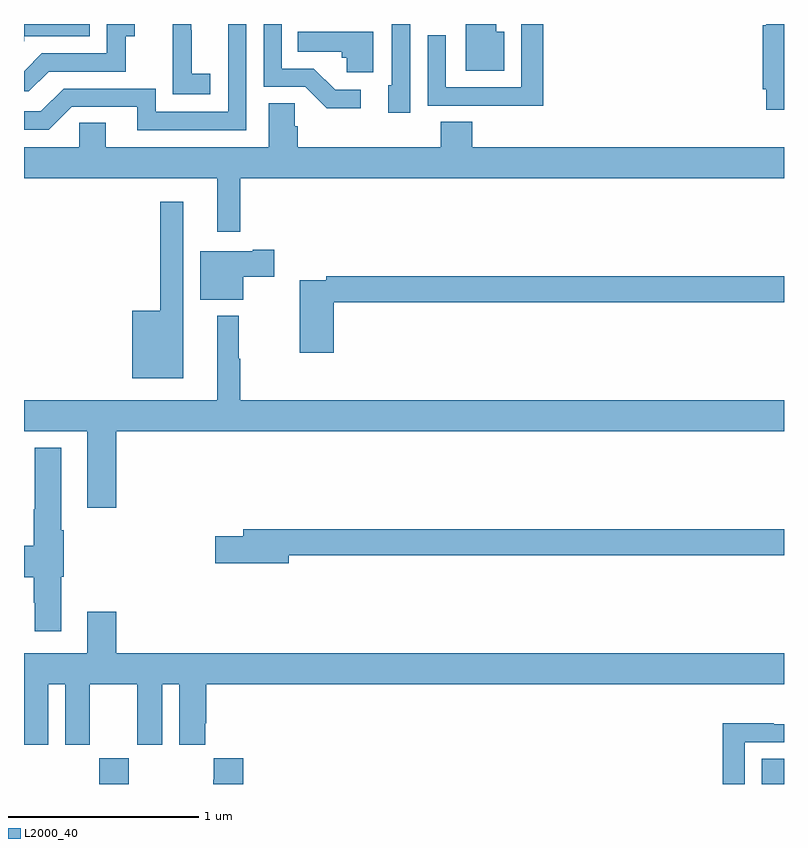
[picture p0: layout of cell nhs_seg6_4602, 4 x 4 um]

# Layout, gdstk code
import gdstk
lib = gdstk.Library(unit=1e-6, precision=1e-09)
def R(c, l, rs):  # rectangles x0, y0, x1, y1
    for r in rs: c.add(gdstk.rectangle(r[:2], r[2:], *l))
def P(c, l, *ps):  # polygons
    for p in ps: c.add(gdstk.Polygon(p, *l))
L2000_40 = (2000, 40)

nhs_seg6_4602 = lib.new_cell('nhs_seg6_4602')
R(nhs_seg6_4602, L2000_40, [(383.395,925.5,383.55,925.636), (386.882,925.5,387,925.634)])
P(nhs_seg6_4602, L2000_40, [(387,929.5),(386.906,929.5),(386.906,929.493),(386.888,929.493),(386.888,929.157),(386.906,929.157),(386.906,929.048),(387,929.048)],
  [(385.528,929.458),(385.486,929.458),(385.486,929.5),(385.325,929.5),(385.325,929.255),(385.528,929.255)],
  [(385.032,929.5),(384.936,929.5),(384.936,929.178),(384.917,929.178),(384.917,929.034),(385.032,929.034)],
  [(384.171,929.5),(384.075,929.5),(384.075,929.037),(383.694,929.037),(383.694,929.16),(383.208,929.16),(383.088,929.04),(383,929.04),(383,928.944),(383.13,928.944),(383.25,929.064),(383.597,929.064),(383.597,928.941),(384.171,928.941)],
  [(383.98,929.239),(383.882,929.239),(383.882,929.468),(383.88,929.468),(383.88,929.5),(383.783,929.5),(383.783,929.335),(383.782,929.335),(383.782,929.129),(383.98,929.129)],
  [(383.001,929.436),(383.346,929.436),(383.346,929.5),(383,929.5),(383,929.409),(383.001,929.409)],
  [(384.772,929.154),(384.637,929.154),(384.526,929.265),(384.357,929.265),(384.357,929.5),(384.261,929.5),(384.261,929.169),(384.48,929.169),(384.593,929.057),(384.772,929.057)],
  [(385.733,929.5),(385.617,929.5),(385.617,929.166),(385.221,929.166),(385.221,929.44),(385.125,929.44),(385.125,929.07),(385.441,929.07),(385.441,929.069),(385.733,929.069)],
  [(383.131,929.25),(383.535,929.25),(383.535,929.435),(383.584,929.435),(383.584,929.5),(383.436,929.5),(383.436,929.346),(383.094,929.346),(383,929.252),(383,929.145),(383.026,929.145)],
  [(384.838,929.458),(384.442,929.458),(384.442,929.354),(384.673,929.354),(384.673,929.322),(384.699,929.322),(384.699,929.246),(384.838,929.246)],
  [(384.139,928.688),(387,928.688),(387,928.852),(385.358,928.852),(385.358,928.985),(385.193,928.985),(385.193,928.852),(384.44,928.852),(384.44,928.961),(384.426,928.961),(384.426,929.084),(384.287,929.084),(384.287,928.852),(383.431,928.852),(383.431,928.979),(383.292,928.979),(383.292,928.852),(383,928.852),(383,928.688),(384.017,928.688),(384.017,928.407),(384.139,928.407)],
  [(383.839,928.564),(383.718,928.564),(383.718,927.991),(383.57,927.991),(383.57,927.635),(383.839,927.635)],
  [(384.154,928.169),(384.316,928.169),(384.316,928.311),(384.203,928.311),(384.203,928.303),(383.927,928.303),(383.927,928.049),(384.154,928.049)],
  [(384.629,928.036),(387,928.036),(387,928.172),(384.592,928.172),(384.592,928.152),(384.451,928.152),(384.451,927.771),(384.629,927.771)],
  [(383.486,927.356),(387,927.356),(387,927.52),(384.139,927.52),(384.139,927.737),(384.131,927.737),(384.131,927.964),(384.017,927.964),(384.017,927.52),(383,927.52),(383,927.356),(383.333,927.356),(383.333,926.955),(383.486,926.955)],
  [(383.197,926.592),(383.21,926.592),(383.21,926.836),(383.197,926.836),(383.197,927.271),(383.057,927.271),(383.057,926.945),(383.05,926.945),(383.05,926.753),(383,926.753),(383,926.588),(383.05,926.588),(383.05,926.454),(383.057,926.454),(383.057,926.304),(383.197,926.304)],
  [(384.394,926.704),(387,926.704),(387,926.84),(384.155,926.84),(384.155,926.804),(384.006,926.804),(384.006,926.662),(384.394,926.662)],
  [(383.128,926.024),(383.216,926.024),(383.216,925.707),(383.347,925.707),(383.347,926.024),(383.597,926.024),(383.597,925.707),(383.728,925.707),(383.728,926.024),(383.816,926.024),(383.816,925.707),(383.953,925.707),(383.953,925.819),(383.96,925.819),(383.96,926.024),(387,926.024),(387,926.188),(383.486,926.188),(383.486,926.407),(383.333,926.407),(383.333,926.188),(383,926.188),(383,925.707),(383.128,925.707)],
  [(386.793,925.719),(387,925.719),(387,925.815),(386.947,925.815),(386.947,925.819),(386.677,925.819),(386.677,925.5),(386.793,925.5)],
  [(384.155,925.636),(383.999,925.636),(383.999,925.523),(383.995,925.523),(383.995,925.5),(384.155,925.5)])

lib.write_gds('nhs_seg6_4602.gds')
